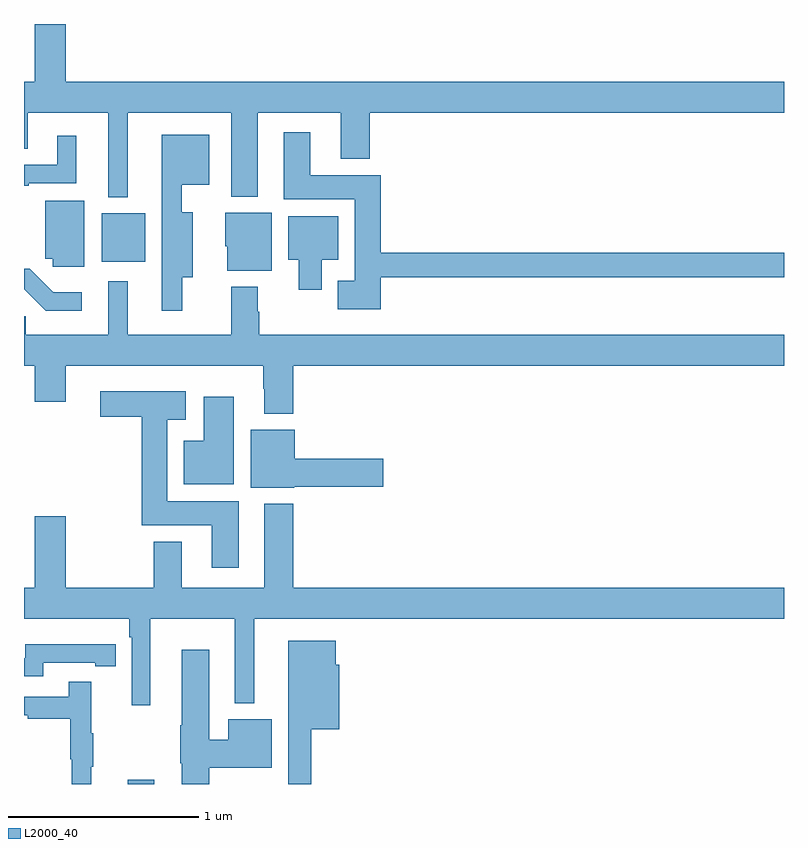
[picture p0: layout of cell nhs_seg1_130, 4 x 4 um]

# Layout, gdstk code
import gdstk
lib = gdstk.Library(unit=1e-6, precision=1e-09)
def R(c, l, rs):  # rectangles x0, y0, x1, y1
    for r in rs: c.add(gdstk.rectangle(r[:2], r[2:], *l))
def P(c, l, *ps):  # polygons
    for p in ps: c.add(gdstk.Polygon(p, *l))
L2000_40 = (2000, 40)

nhs_seg1_130 = lib.new_cell('nhs_seg1_130')
R(nhs_seg1_130, L2000_40, [(117.545,548.199,117.685,548.221), (117.41,550.949,117.637,551.203)])
P(nhs_seg1_130, L2000_40, [(117.547,551.732),(118.091,551.732),(118.091,551.291),(118.231,551.291),(118.231,551.732),(118.667,551.732),(118.667,551.489),(118.82,551.489),(118.82,551.732),(121,551.732),(121,551.896),(117.22,551.896),(117.22,552.199),(117.056,552.199),(117.056,551.896),(117,551.896),(117,551.542),(117.019,551.542),(117.019,551.732),(117.443,551.732),(117.443,551.288),(117.547,551.288)],
  [(118.877,550.866),(121,550.866),(121,550.994),(118.877,550.994),(118.877,551.404),(118.507,551.404),(118.507,551.629),(118.367,551.629),(118.367,551.276),(118.742,551.276),(118.742,550.849),(118.652,550.849),(118.652,550.697),(118.877,550.697)],
  [(117.832,550.865),(117.889,550.865),(117.889,551.209),(117.829,551.209),(117.829,551.354),(117.976,551.354),(117.976,551.617),(117.725,551.617),(117.725,550.689),(117.832,550.689)],
  [(117.025,551.361),(117.274,551.361),(117.274,551.611),(117.176,551.611),(117.176,551.457),(117,551.457),(117,551.349),(117.025,551.349)],
  [(117.316,551.269),(117.113,551.269),(117.113,550.964),(117.15,550.964),(117.15,550.922),(117.316,550.922)],
  [(118.303,551.206),(118.058,551.206),(118.058,551.028),(118.07,551.028),(118.07,550.901),(118.303,550.901)],
  [(118.567,550.958),(118.654,550.958),(118.654,551.188),(118.391,551.188),(118.391,550.958),(118.445,550.958),(118.445,550.8),(118.567,550.8)],
  [(117.304,550.786),(117.155,550.786),(117.029,550.912),(117,550.912),(117,550.802),(117.001,550.802),(117.114,550.689),(117.304,550.689)],
  [(118.418,550.4),(121,550.4),(121,550.564),(118.239,550.564),(118.239,550.685),(118.231,550.685),(118.231,550.816),(118.091,550.816),(118.091,550.564),(117.547,550.564),(117.547,550.846),(117.443,550.846),(117.443,550.564),(117.008,550.564),(117.008,550.662),(117,550.662),(117,550.4),(117.056,550.4),(117.056,550.212),(117.22,550.212),(117.22,550.4),(118.258,550.4),(118.258,550.28),(118.265,550.28),(118.265,550.148),(118.418,550.148)],
  [(118.129,549.688),(117.754,549.688),(117.754,550.115),(117.85,550.115),(117.85,550.267),(117.402,550.267),(117.402,550.133),(117.62,550.133),(117.62,549.56),(117.989,549.56),(117.989,549.336),(118.129,549.336)],
  [(118.105,550.237),(117.947,550.237),(117.947,550.006),(117.842,550.006),(117.842,549.776),(118.105,549.776)],
  [(118.422,549.764),(118.891,549.764),(118.891,549.911),(118.426,549.911),(118.426,550.063),(118.193,550.063),(118.193,549.758),(118.422,549.758)],
  [(117.664,549.068),(118.109,549.068),(118.109,548.624),(118.213,548.624),(118.213,549.068),(121,549.068),(121,549.232),(118.418,549.232),(118.418,549.673),(118.265,549.673),(118.265,549.232),(117.829,549.232),(117.829,549.475),(117.682,549.475),(117.682,549.232),(117.22,549.232),(117.22,549.607),(117.056,549.607),(117.056,549.232),(117,549.232),(117,549.068),(117.554,549.068),(117.554,548.972),(117.567,548.972),(117.567,548.613),(117.664,548.613)],
  [(118.513,548.486),(118.66,548.486),(118.66,548.826),(118.642,548.826),(118.642,548.953),(118.391,548.953),(118.391,548.199),(118.513,548.199)],
  [(117.102,548.838),(117.374,548.838),(117.374,548.818),(117.482,548.818),(117.482,548.934),(117.374,548.934),(117.374,548.935),(117.006,548.935),(117.006,548.862),(117,548.862),(117,548.766),(117.102,548.766)],
  [(117.976,548.285),(118.303,548.285),(118.303,548.539),(118.076,548.539),(118.076,548.432),(117.976,548.432),(117.976,548.905),(117.83,548.905),(117.83,548.509),(117.823,548.509),(117.823,548.309),(117.83,548.309),(117.83,548.199),(117.976,548.199)],
  [(117.353,548.291),(117.364,548.291),(117.364,548.465),(117.353,548.465),(117.353,548.737),(117.235,548.737),(117.235,548.658),(117,548.658),(117,548.562),(117.019,548.562),(117.019,548.542),(117.243,548.542),(117.243,548.328),(117.25,548.328),(117.25,548.199),(117.353,548.199)])

lib.write_gds('nhs_seg1_130.gds')
